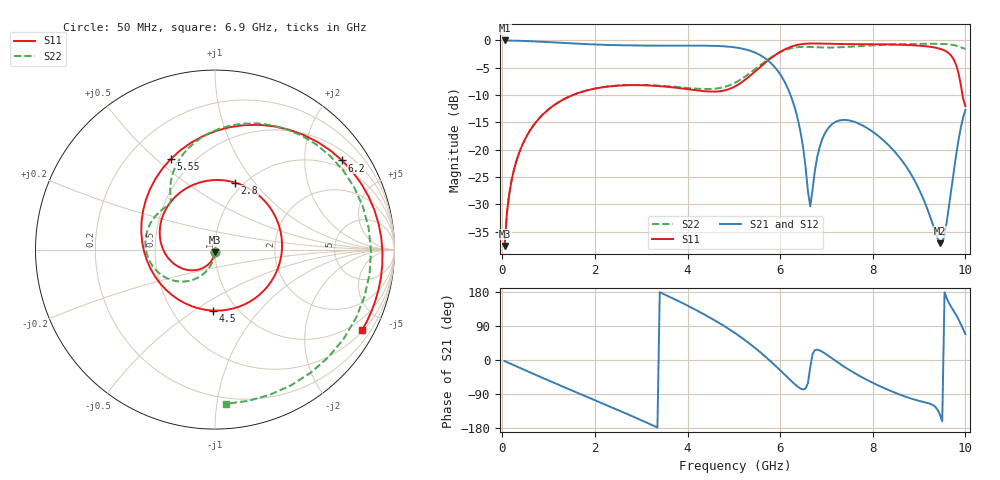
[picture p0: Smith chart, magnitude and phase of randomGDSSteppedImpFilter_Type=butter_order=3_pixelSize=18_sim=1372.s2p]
! freq	dB(S11)	phase(S11)	dB(S12)	phase(S12)
!  dB(S21)	phase(S21)	dB(S22)	phase(S22)
!S-par simulation data
#  GHz  S  DB  R 50
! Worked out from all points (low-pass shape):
!   200 points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, 50 MHz to 10 GHz, reference 50 ohm
!   highest |S21| = -0.01 dB at 50 MHz (marker M1); lowest = -37.1 dB at 9.45 GHz (marker M2)
!   |S21| within 3 dB of the highest: start of sweep to 5.629 GHz
!   lowest |S11| = -37.6 dB at 50 MHz (marker M3), VSWR 1.03, Z = 49.9 - j1.31 ohm
!   |S11| at or under -10 dB: start of sweep to 1.525 GHz; 9.938 GHz to end of sweep
!   |S22| runs from -37.7 to -0.6 dB; largest |S21 - S12| = 0
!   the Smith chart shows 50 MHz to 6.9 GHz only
!   S11 on the Smith chart (normalised r, x): 50 MHz: 1.00, -0.03; 2.8 GHz: 0.91, +0.80; 4.5 GHz: 0.77, -0.59; 5.55 GHz: 0.38, +0.56; 6.2 GHz: 0.76, +2.99; 6.9 GHz: 0.54, -3.84
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0.05  -37.60 -93.2  -0.01 -2.8  -0.01 -2.8  -37.66 -91.7
0.2  -25.66 -103.8  -0.03 -11.0  -0.03 -11.0  -25.63 -98.7
0.5  -17.96 -124.4  -0.11 -27.3  -0.11 -27.3  -17.94 -111.4
1.75  -9.34 150.8  -0.65 -93.2  -0.65 -93.2  -9.32 -158.5
2.8  -8.18 73.4  -0.92 -148.0  -0.92 -148.0  -8.14 169.6
3.4  -8.37 23.2  -0.95 179.0  -0.95 179.0  -8.28 154.4
4.5  -9.37 -92.3  -0.98 110.8  -0.98 110.8  -8.89 134.4
5.05  -8.31 -171.0  -1.30 69.0  -1.30 69.0  -7.64 127.0
5.55  -5.01 116.0  -2.61 22.7  -2.61 22.7  -4.65 104.6
5.95  -2.36 64.2  -5.60 -21.3  -5.60 -21.3  -2.37 65.8
6.2  -1.26 35.0  -9.48 -50.8  -9.48 -50.8  -1.52 31.6
6.45  -0.70 8.9  -17.22 -75.8  -17.22 -75.8  -1.19 -8.8
6.65  -0.56 -9.3  -30.37 -19.0  -30.37 -19.0  -1.20 -43.5
6.7  -0.56 -13.5  -27.27 15.7  -27.27 15.7  -1.22 -52.2
6.9  -0.59 -28.7  -18.28 22.5  -18.28 22.5  -1.30 -85.8
7.2  -0.66 -48.2  -14.89 -2.7  -14.89 -2.7  -1.29 -130.2
7.5  -0.68 -65.3  -14.66 -26.8  -14.66 -26.8  -1.15 -166.2
8.35  -0.73 -109.2  -19.25 -79.7  -19.25 -79.7  -0.76 122.8
9.45  -1.52 -174.5  -37.11 -143.9  -37.11 -143.9  -0.63 57.4
9.55  -1.84 176.6  -35.62 178.8  -35.62 178.8  -0.66 51.7
9.8  -4.49 147.8  -20.96 118.9  -20.96 118.9  -0.96 37.4
10  -12.02 165.8  -12.72 68.2  -12.72 68.2  -1.54 28.8
